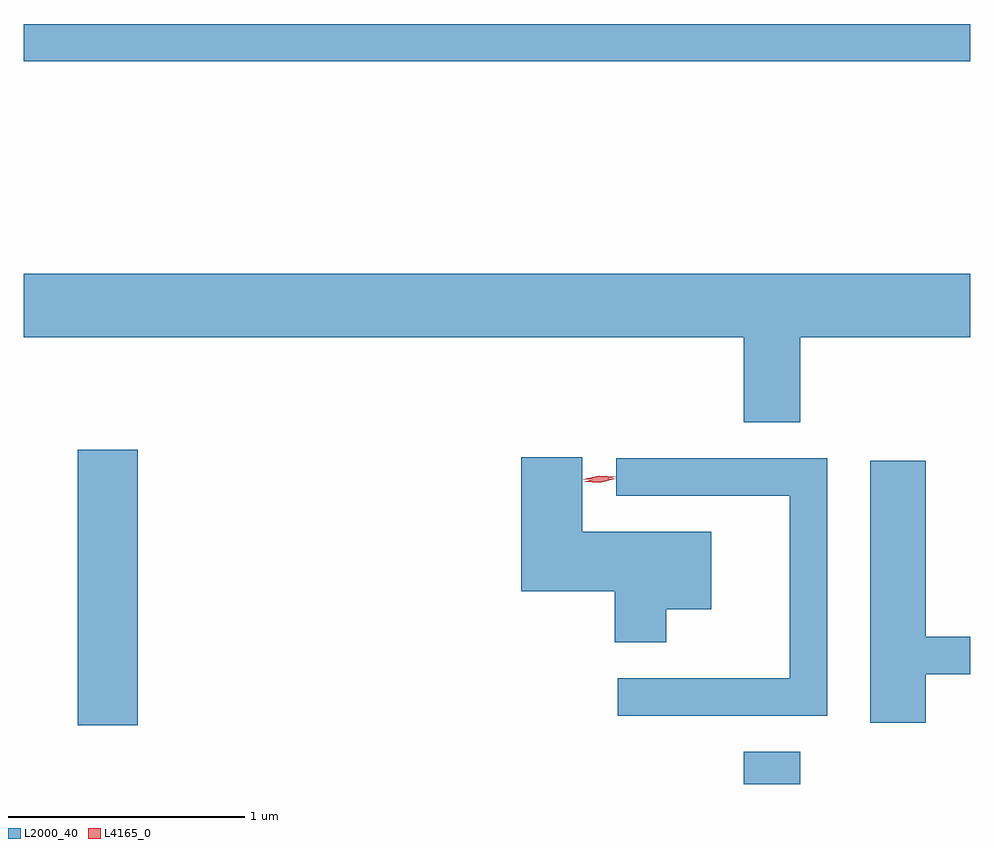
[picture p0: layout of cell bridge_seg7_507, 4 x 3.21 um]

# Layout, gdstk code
import gdstk
lib = gdstk.Library(unit=1e-6, precision=1e-09)
def R(c, l, rs):  # rectangles x0, y0, x1, y1
    for r in rs: c.add(gdstk.rectangle(r[:2], r[2:], *l))
def P(c, l, *ps):  # polygons
    for p in ps: c.add(gdstk.Polygon(p, *l))
L2000_40 = (2000, 40)
L4165_0 = (4165, 0)

bridge_seg7_507 = lib.new_cell('bridge_seg7_507')
R(bridge_seg7_507, L2000_40, [(1292.906,1707.987,1293.144,1708.124), (1290.091,1708.236,1290.344,1709.399), (1289.863,1711.041,1293.863,1711.199)])
P(bridge_seg7_507, L2000_40, [(1293.144,1709.876),(1293.863,1709.876),(1293.863,1710.144),(1289.863,1710.144),(1289.863,1709.876),(1292.906,1709.876),(1292.906,1709.516),(1293.144,1709.516)],
  [(1292.579,1708.726),(1292.769,1708.726),(1292.769,1709.054),(1292.224,1709.054),(1292.224,1709.369),(1291.966,1709.369),(1291.966,1708.801),(1292.361,1708.801),(1292.361,1708.586),(1292.579,1708.586)],
  [(1293.259,1709.364),(1292.368,1709.364),(1292.368,1709.206),(1293.101,1709.206),(1293.101,1708.434),(1292.373,1708.434),(1292.373,1708.276),(1293.259,1708.276)],
  [(1293.674,1708.451),(1293.863,1708.451),(1293.863,1708.609),(1293.674,1708.609),(1293.674,1709.354),(1293.441,1709.354),(1293.441,1708.246),(1293.674,1708.246)])
P(bridge_seg7_507, L4165_0, [(1292.298,1709.261),(1292.231,1709.264),(1292.231,1709.265),(1292.231,1709.265),(1292.296,1709.281),(1292.362,1709.278),(1292.363,1709.278),(1292.362,1709.277)],
  [(1292.297,1709.27),(1292.228,1709.274),(1292.227,1709.274),(1292.228,1709.275),(1292.296,1709.29),(1292.365,1709.286),(1292.366,1709.285),(1292.365,1709.285)])

lib.write_gds('bridge_seg7_507.gds')
